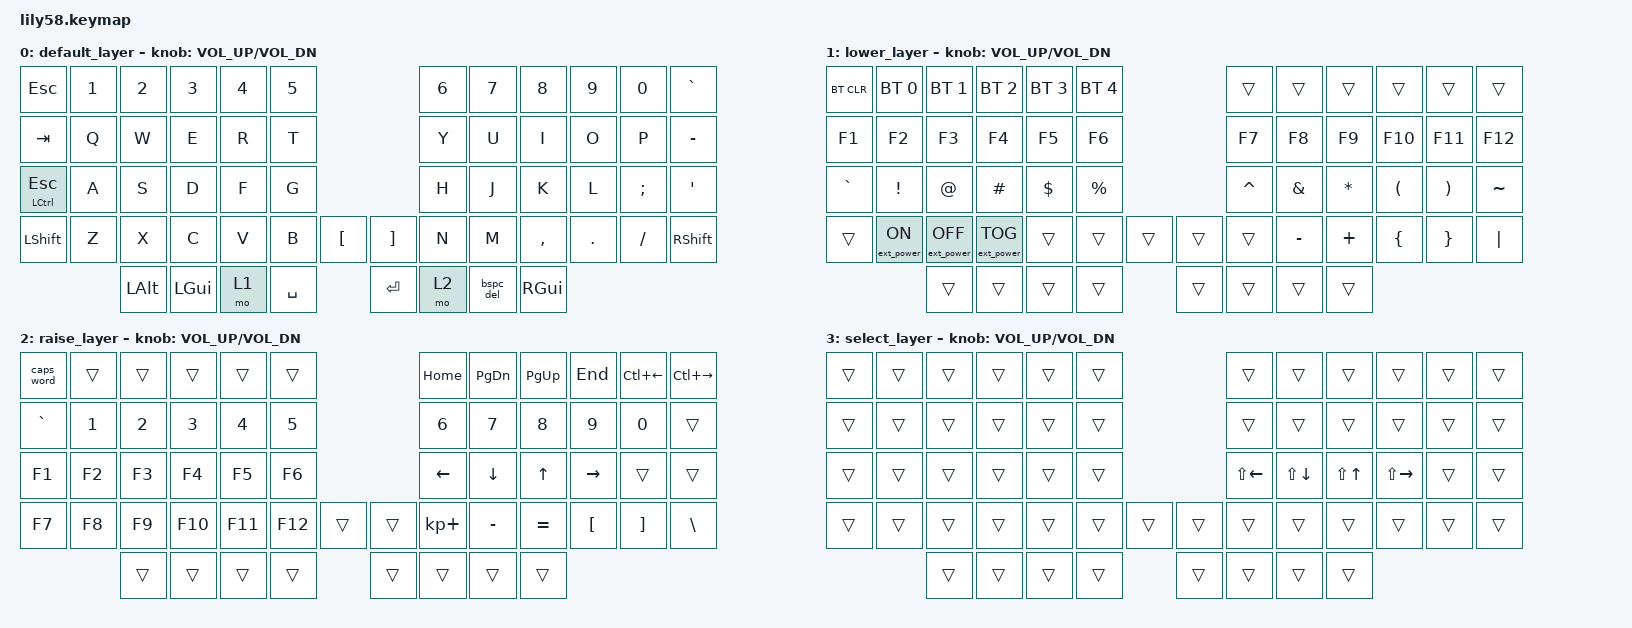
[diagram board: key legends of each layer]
/*
 * Copyright (c) 2020 The ZMK Contributors
 *
 * SPDX-License-Identifier: MIT
 */

#include <behaviors.dtsi>
#include <dt-bindings/zmk/keys.h>
#include <dt-bindings/zmk/bt.h>
#include <dt-bindings/zmk/ext_power.h>
#include <dt-bindings/zmk/modifiers.h>

// ============================================================================
// VIM-ORIENTED ADDITIONS (see git history for the "before" version if you
// want a diff). Four changes, each independently tunable:
//
// 1. esc_ctrl behavior (below) + used on LCTRL in default_layer:
//      tap  -> ESC   (vim's most-used key, now reachable from home row)
//      hold -> CTRL  (still works for Ctrl-chords like Ctrl-w / Ctrl-r)
//    Tune `tapping-term-ms` if taps feel laggy (lower it) or Ctrl misfires
//    as Esc when you type fast (raise it). `flavor = "balanced"` was chosen
//    deliberately: "tap-preferred" would break fast Ctrl-chords, because a
//    quick second keypress while holding would resolve as a tap instead.
//
// 2. raise_layer row 1 (top row) was entirely unused (all &trans) -- it's
//    now an extended motion row sitting directly above the existing hjkl
//    arrow row (raise_layer row 3), so columns line up: HOME sits above
//    LEFT, END above RIGHT, PG_DN above DOWN, PG_UP above UP. See the
//    updated ASCII map on raise_layer.
//
// 3. select_layer (new layer 3): hold LOWER+RAISE together (conditional
//    layer below) to get Shift+hjkl, i.e. arrow-key text selection
//    ("visual mode"). This uses ZMK's `conditional_layers` feature rather
//    than a combo: it triggers off layer *state* (both LOWER and RAISE
//    active), not simultaneous physical keypresses, so there's no timing
//    window to miss -- press LOWER, then RAISE a moment later, and it
//    still activates.
//
// 4. raise_layer top-left key (was &trans, i.e. redundant plain ESC) is now
//    &caps_word -- tap to type the next word in ALL CAPS, auto-releasing at
//    the next space/punctuation. See the comment above raise_layer for how
//    to widen its continue-list (e.g. so digits don't break it early).
//
// 5. bspc_del behavior (below), used on the right-thumb BSPC key: tap for
//    normal Backspace, hold Shift while tapping for Delete -- solves the
//    classic compact-keyboard problem of having no dedicated Delete key.
//    Shift is "swallowed" (not sent alongside DEL) via mod-morph's default
//    `keep-mods = 0`, so it behaves like a real Delete key, not Shift+Del.
// ============================================================================

/ {
    behaviors {
        esc_ctrl: escape_or_control {
            compatible = "zmk,behavior-hold-tap";
            label = "ESC_CTRL";
            #binding-cells = <2>;
            tapping-term-ms = <200>;
            flavor = "balanced";
            bindings = <&kp>, <&kp>;
        };

        bspc_del: backspace_or_delete {
            compatible = "zmk,behavior-mod-morph";
            label = "BSPC_DEL";
            #binding-cells = <0>;
            bindings = <&kp BSPC>, <&kp DEL>;
            mods = <(MOD_LSFT|MOD_RSFT)>;
        };
    };

    combos {
        compatible = "zmk,combos";
        combo_caps_lock {
            // Key positions 36 & 49 are LSHFT and RSHFT (0-indexed, counting
            // through default_layer's bindings list: row1=0-11, row2=12-23,
            // row3=24-35, row4=36-49, thumbs=50-57). Pressing both together
            // sends a real Caps Lock HID keycode instead of two Shift
            // keycodes, so it toggles Caps Lock on the host directly --
            // unlike a host-side remap (e.g. Karabiner), this works on any
            // machine the board is plugged/paired into, not just one you've
            // configured. Restricted to default_layer since positions
            // 36/49 mean something else (F7/trans, etc.) on other layers.
            timeout-ms = <50>;
            key-positions = <36 49>;
            bindings = <&kp CAPS>;
            layers = <0>;
        };
    };

    conditional_layers {
        compatible = "zmk,conditional-layers";
        select_layer_trigger {
            // If-layers use layer *numbers*: 1 = lower_layer, 2 = raise_layer
            // (see their order under `keymap` below). then-layer is 3 =
            // select_layer. Holding both LOWER and RAISE activates it --
            // order/timing between the two doesn't matter.
            if-layers = <1 2>;
            then-layer = <3>;
        };
    };

    keymap {
        compatible = "zmk,keymap";

        default_layer {
// ------------------------------------------------------------------------------------------------------------
// |  ESC  |  1  |  2  |  3   |  4   |  5   |                   |  6   |  7    |  8    |  9   |   0   |   `   |
// |  TAB  |  Q  |  W  |  E   |  R   |  T   |                   |  Y   |  U    |  I    |  O   |   P   |   -   |
// |ESC/CTL|  A  |  S  |  D   |  F   |  G   |                   |  H   |  J    |  K    |  L   |   ;   |   '   |  <- tap=ESC, hold=CTRL (see esc_ctrl behavior)
// | SHIFT |  Z  |  X  |  C   |  V   |  B   |   "["  |  |  "]"  |  N   |  M    |  ,    |  .   |   /   | SHIFT |
//                     | ALT  | GUI  | LOWER|  SPACE |  | ENTER | RAISE|BSPC/DEL| GUI  |  <- tap=BSPC, shift+tap=DEL (see bspc_del behavior)
            bindings = <
&kp ESC             &kp N1 &kp N2 &kp N3   &kp N4   &kp N5                     &kp N6 &kp N7   &kp N8    &kp N9  &kp N0   &kp GRAVE
&kp TAB             &kp Q  &kp W  &kp E    &kp R    &kp T                      &kp Y  &kp U    &kp I     &kp O   &kp P    &kp MINUS
&esc_ctrl LCTRL ESC  &kp A  &kp S  &kp D    &kp F    &kp G                      &kp H  &kp J    &kp K     &kp L   &kp SEMI &kp SQT
&kp LSHFT           &kp Z  &kp X  &kp C    &kp V    &kp B  &kp LBKT   &kp RBKT &kp N  &kp M    &kp COMMA &kp DOT &kp FSLH &kp RSHFT
                              &kp LALT &kp LGUI &mo 1  &kp SPACE  &kp RET  &mo 2  &bspc_del &kp RGUI
            >;

            sensor-bindings = <&inc_dec_kp C_VOL_UP C_VOL_DN>;
        };

        lower_layer {
// ------------------------------------------------------------------------------------------------------------
// | BTCLR | BT1 | BT2 |  BT3 |  BT4 |  BT5 |                   |      |       |       |      |       |       |
// |  F1   |  F2 |  F3 |  F4  |  F5  |  F6  |                   |  F7  |  F8   |  F9   |  F10 |  F11  |  F12  |
// |   `   |  !  |  @  |  #   |  $   |  %   |                   |  ^   |  &    |  *    |  (   |   )   |   ~   |
// |       |     |     |      |      |      |        |  |       |      |  _    |  +    |  {   |   }   |  "|"  |
//                     |      |      |      |        |  |       |      |       |       |
            bindings = <
&bt BT_CLR &bt BT_SEL 0     &bt BT_SEL 1      &bt BT_SEL 2      &bt BT_SEL 3 &bt BT_SEL 4                 &trans    &trans    &trans    &trans    &trans    &trans
&kp F1     &kp F2           &kp F3            &kp F4            &kp F5       &kp F6                       &kp F7    &kp F8    &kp F9    &kp F10   &kp F11   &kp F12
&kp GRAVE  &kp EXCL         &kp AT            &kp HASH          &kp DOLLAR   &kp PRCNT                    &kp CARET &kp AMPS  &kp ASTRK &kp LPAR  &kp RPAR  &kp TILDE
&trans     &ext_power EP_ON &ext_power EP_OFF &ext_power EP_TOG &trans       &trans    &trans   &trans    &trans    &kp MINUS &kp PLUS  &kp LBRC  &kp RBRC  &kp PIPE
                                              &trans            &trans       &trans    &trans   &trans    &trans    &trans    &trans
            >;

            sensor-bindings = <&inc_dec_kp C_VOL_UP C_VOL_DN>;
        };

        raise_layer {
// ------------------------------------------------------------------------------------------------------------
// | CAPSWD|     |     |      |      |      |                   | HOME | PG_DN | PG_UP | END  | C-LEFT| C-RGHT|  <- new: extended motions
// |   `   |  1  |  2  |  3   |  4   |  5   |                   |  6   |   7   |   8   |  9   |   0   |       |
// |   F1  |  F2 |  F3 |  F4  |  F5  |  F6  |                   |  <-  |   v   |  ^   |  ->   |       |       |
// |   F7  |  F8 |  F9 |  F10 |  F11 |  F12 |        |  |       |  +   |   -   |   =   |  [   |   ]   |   \   |
//                     |      |      |      |        |  |       |      |       |       |
// Column alignment is deliberate: HOME sits above LEFT (both "leftward"),
// END above RIGHT, PG_DN above DOWN, PG_UP above UP -- so the two rows read
// as one coherent vim-style navigation cluster. C-LEFT/C-RGHT are
// Ctrl+Left/Ctrl+Right (word-back/word-forward in most apps and terminals).
//
// CAPSWD (top-left) is &caps_word: one tap types the next word in all-caps,
// auto-releasing at the next space/punctuation -- handy for CONSTANTS and
// SNAKE_CASE. It's ZMK's stock behavior (no custom node needed), so its
// default continue-list already covers letters, underscore, and backspace.
// If you find it drops out mid-digit (e.g. typing "CONST_1"), you can widen
// it by overriding the behavior in the `behaviors` block up top:
//   &caps_word { continue-list = <UNDERSCORE BACKSPACE DELETE N0 N1 N2 N3 N4 N5 N6 N7 N8 N9>; };
// This slot used to be &trans (falling through to plain ESC), which was
// redundant since ESC is already the tap-action on the home-row Ctrl key.
            bindings = <
&caps_word &trans &trans &trans  &trans  &trans                       &kp HOME    &kp PG_DN &kp PG_UP &kp END    &kp LC(LEFT) &kp LC(RIGHT)
&kp GRAVE &kp N1 &kp N2 &kp N3  &kp N4  &kp N5                       &kp N6      &kp N7    &kp N8    &kp N9     &kp N0       &trans
&kp F1    &kp F2 &kp F3 &kp F4  &kp F5  &kp F6                       &kp LEFT    &kp DOWN  &kp UP    &kp RIGHT  &trans       &trans
&kp F7    &kp F8 &kp F9 &kp F10 &kp F11 &kp F12   &trans   &trans    &kp KP_PLUS &kp MINUS &kp EQUAL &kp LBKT   &kp RBKT     &kp BSLH
                        &trans  &trans  &trans    &trans   &trans    &trans      &trans    &trans
            >;

            sensor-bindings = <&inc_dec_kp C_VOL_UP C_VOL_DN>;
        };

        select_layer {
// ------------------------------------------------------------------------------------------------------------
// |       |     |     |      |      |      |                   |      |       |       |      |       |       |
// |       |     |     |      |      |      |                   |      |       |       |      |       |       |
// |       |     |     |      |      |      |                   |S-LEFT|S-DOWN | S-UP  |S-RGHT|       |       |  <- "visual mode": shift+hjkl
// |       |     |     |      |      |      |        |  |       |      |       |       |      |       |       |
//                     |      |      |      |        |  |       |      |       |       |
// Layer 3, reached by holding LOWER+RAISE together (conditional_layers
// node defined at the top of this file -- not a combo, so no timing
// window). Everything else is &trans, so normal typing still works
// underneath -- this only overlays hjkl with shifted arrows, letting you
// extend a text selection the way vim's visual mode extends with hjkl.
// Release either thumb key to drop back out.
            bindings = <
&trans &trans &trans &trans &trans &trans                     &trans        &trans        &trans      &trans         &trans &trans
&trans &trans &trans &trans &trans &trans                     &trans        &trans        &trans      &trans         &trans &trans
&trans &trans &trans &trans &trans &trans                     &kp LS(LEFT)  &kp LS(DOWN)  &kp LS(UP)  &kp LS(RIGHT)  &trans &trans
&trans &trans &trans &trans &trans &trans  &trans   &trans    &trans        &trans        &trans      &trans         &trans &trans
                      &trans &trans &trans  &trans   &trans    &trans        &trans        &trans
            >;

            sensor-bindings = <&inc_dec_kp C_VOL_UP C_VOL_DN>;
        };
    };
};
